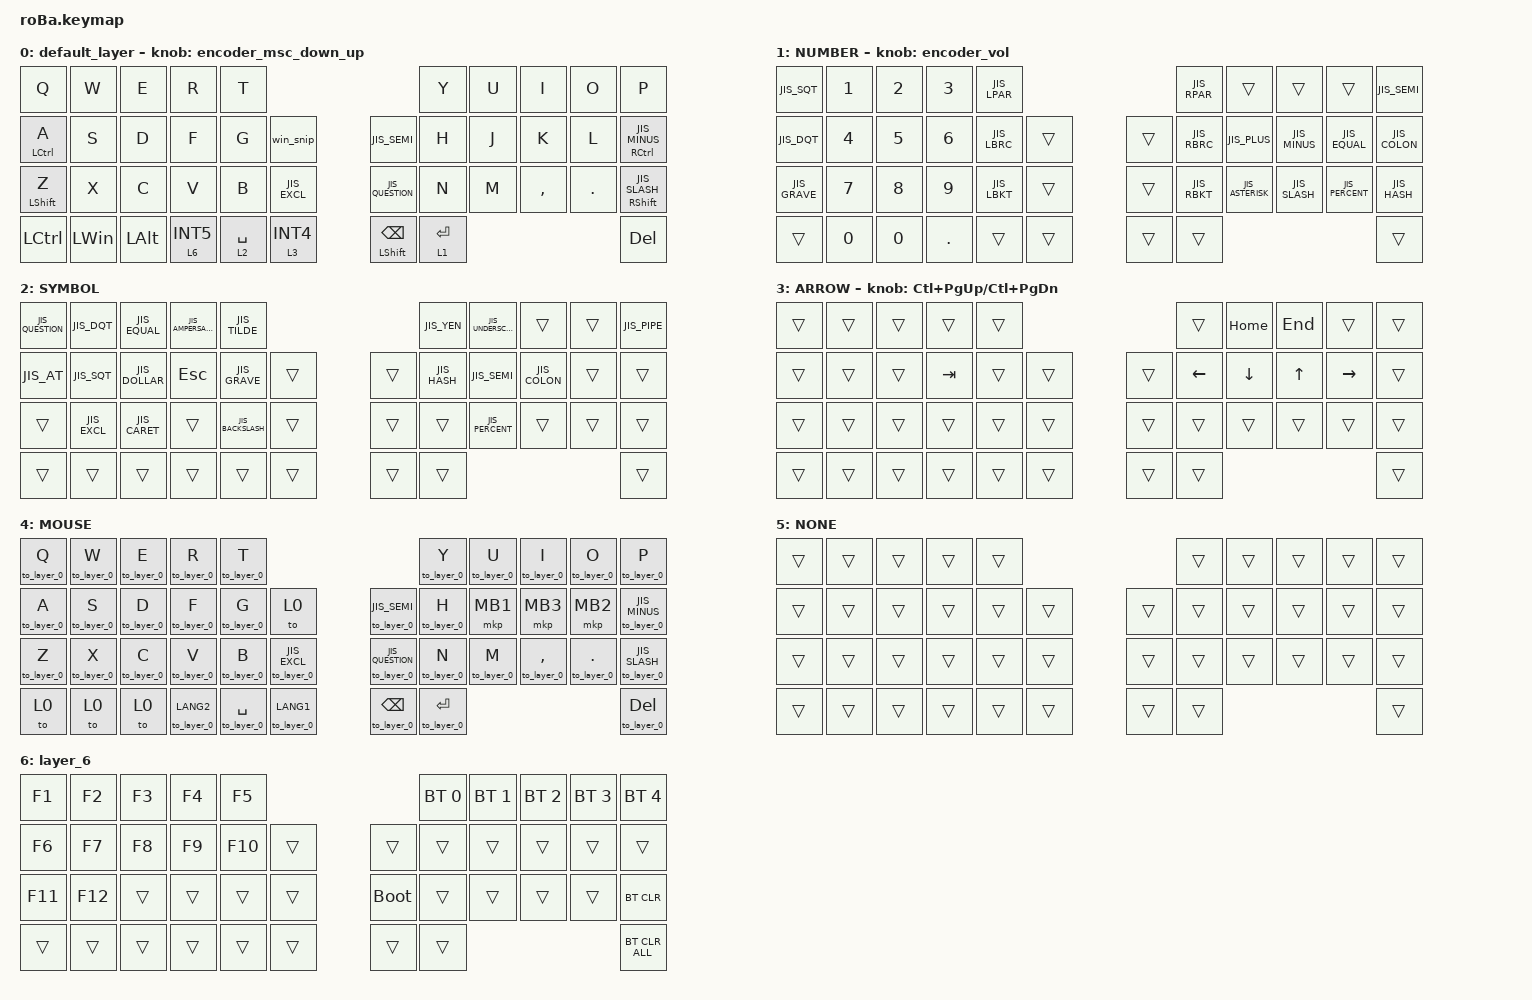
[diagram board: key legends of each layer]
#include <input/processors.dtsi>
#include <behaviors.dtsi>
#include <dt-bindings/zmk/bt.h>
#include <dt-bindings/zmk/keys.h>
#include <dt-bindings/zmk/pointing.h>

#include "jis_keys.h"

#define ZMK_POINTING_DEFAULT_SCRL_VAL 80

&mkp_input_listener { input-processors = <&zip_temp_layer 4 500>; };

&mt {
    flavor = "balanced";
    quick-tap-ms = <175>;
    tapping-term-ms = <400>;
    // require-prior-idle-ms = <200>;
};

&trackball {
    automouse-layer = <4>;
    scroll-layers = <5>;

    // arrows {
    //     layers = <3>;
    //     bindings =
    //         <&kp RIGHT_ARROW>,
    //         <&kp LEFT_ARROW>,
    //         <&kp UP_ARROW>,
    //         <&kp DOWN_ARROW>;
    //     tick = <10>;
    //     wait-ms = <5>;
    //     tap-ms = <5>;
    // };
};

/ {
    combos {
        compatible = "zmk,combos";

        tab {
            bindings = <&kp TAB>;
            key-positions = <11 12>;
        };

        shift_tab {
            bindings = <&kp LS(TAB)>;
            key-positions = <12 13>;
        };

        back {
            bindings = <&kp LA(LEFT)>;
            key-positions = <18 19>;
        };

        forward {
            bindings = <&kp LA(RIGHT)>;
            key-positions = <19 20>;
        };

        move_to_monitor_right {
            bindings = <&kp LG(LS(RIGHT))>;
            key-positions = <31 32>;
        };

        move_to_monitor_left {
            bindings = <&kp LG(LS(LEFT))>;
            key-positions = <30 31>;
        };
    };

    macros {
        to_layer_0: to_layer_0 {
            compatible = "zmk,behavior-macro-one-param";
            #binding-cells = <1>;
            bindings = <&to 0 &macro_param_1to1 &kp MACRO_PLACEHOLDER>;
            label = "TO_LAYER_0";
        };

        win_snip: win_snip {
            compatible = "zmk,behavior-macro";
            #binding-cells = <0>;
            bindings
                = <&macro_press &kp LGUI &kp LSHFT>
                , <&macro_tap &kp S>
                , <&macro_release &kp LGUI &kp LSHFT>;
            label = "WIN_SNIP";
        };
    };

    behaviors {
        lt_to_layer_0: lt_to_layer_0 {
            compatible = "zmk,behavior-hold-tap";
            label = "LAYER_TAP_TO_0";
            bindings = <&mo>, <&to_layer_0>;

            #binding-cells = <2>;
            tapping-term-ms = <200>;
            require-prior-idle-ms = <100>;
        };

        encoder_msc_down_up: encoder_msc_down_up {
            compatible = "zmk,behavior-sensor-rotate";
            label = "ENCODER_MSC_DOWN_UP";
            #sensor-binding-cells = <0>;
            bindings = <&msc SCRL_DOWN>, <&msc SCRL_UP>;

            tap-ms = <20>;
        };

        encoder_vol: encoder_vol {
            compatible = "zmk,behavior-sensor-rotate";
            label = "ENCODER_VOL";
            #sensor-binding-cells = <0>;
            bindings = <&kp C_VOL_DN>, <&kp C_VOL_UP>;
            tap-ms = <20>;
        };
    };

    keymap {
        compatible = "zmk,keymap";

        default_layer {
            bindings = <
&kp Q               &kp W         &kp E         &kp R                   &kp T                                                               &kp Y             &kp U  &kp I      &kp O    &kp P
&mt LEFT_CONTROL A  &kp S         &kp D         &kp F                   &kp G        &win_snip                   &kp JIS_SEMI               &kp H             &kp J  &kp K      &kp L    &mt RIGHT_CONTROL JIS_MINUS
&mt LSHIFT Z        &kp X         &kp C         &kp V                   &kp B        &kp JIS_EXCL                &kp JIS_QUESTION           &kp N             &kp M  &kp COMMA  &kp DOT  &mt RIGHT_SHIFT JIS_SLASH
&kp LCTRL           &kp LEFT_WIN  &kp LEFT_ALT  &lt_to_layer_0 6 INT5   &lt 2 SPACE  &lt_to_layer_0 3 INT4       &mt LSHIFT BACKSPACE       &lt 1 ENTER                                  &kp DEL
            >;

            sensor-bindings = <&encoder_msc_down_up>;
        };

        NUMBER {
            bindings = <
&kp JIS_SQT    &kp NUMBER_1   &kp NUMBER_2   &kp NUMBER_3   &kp JIS_LPAR                            &kp JIS_RPAR   &trans             &trans          &trans            &kp JIS_SEMI
&kp JIS_DQT    &kp NUMBER_4   &kp NUMBER_5   &kp NUMBER_6   &kp JIS_LBRC     &trans      &trans     &kp JIS_RBRC   &kp JIS_PLUS       &kp JIS_MINUS   &kp JIS_EQUAL     &kp JIS_COLON
&kp JIS_GRAVE  &kp NUMBER_7   &kp NUMBER_8   &kp NUMBER_9   &kp JIS_LBKT     &trans      &trans     &kp JIS_RBKT   &kp JIS_ASTERISK   &kp JIS_SLASH   &kp JIS_PERCENT   &kp JIS_HASH
&trans         &kp NUMBER_0   &kp NUMBER_0   &kp DOT        &trans           &trans      &trans     &trans                                                              &trans
            >;

            sensor-bindings = <&encoder_vol>;
        };

        SYMBOL {
            bindings = <
&kp JIS_QUESTION  &kp JIS_DQT     &kp JIS_EQUAL   &kp JIS_AMPERSAND    &kp JIS_TILDE                                &kp JIS_YEN    &kp JIS_UNDERSCORE  &trans           &trans  &kp JIS_PIPE
&kp JIS_AT        &kp JIS_SQT     &kp JIS_DOLLAR  &kp ESC              &kp JIS_GRAVE       &trans      &trans       &kp JIS_HASH   &kp JIS_SEMI        &kp JIS_COLON    &trans  &trans
&trans            &kp JIS_EXCL    &kp JIS_CARET   &trans               &kp JIS_BACKSLASH   &trans      &trans       &trans         &kp JIS_PERCENT     &trans           &trans  &trans
&trans            &trans          &trans          &trans               &trans              &trans      &trans       &trans                                                      &trans
            >;
        };

        ARROW {
            bindings = <
&trans   &trans  &trans  &trans   &trans                      &trans          &kp HOME        &kp END       &trans           &trans
&trans   &trans  &trans  &kp TAB  &trans  &trans      &trans  &kp LEFT_ARROW  &kp DOWN_ARROW  &kp UP_ARROW  &kp RIGHT_ARROW  &trans
&trans   &trans  &trans  &trans   &trans  &trans      &trans  &trans          &trans          &trans        &trans           &trans
&trans   &trans  &trans  &trans   &trans  &trans      &trans  &trans                                                         &trans
            >;

            sensor-bindings = <&inc_dec_kp LC(PAGE_UP) LC(PAGE_DOWN)>;
        };

        MOUSE {
            bindings = <
&to_layer_0 Q  &to_layer_0 W  &to_layer_0 E  &to_layer_0 R      &to_layer_0 T                                          &to_layer_0 Y        &to_layer_0 U  &to_layer_0 I      &to_layer_0 O    &to_layer_0 P
&to_layer_0 A  &to_layer_0 S  &to_layer_0 D  &to_layer_0 F      &to_layer_0 G  &to 0              &to_layer_0 JIS_SEMI  &to_layer_0 H        &mkp MB1       &mkp MB3           &mkp MB2         &to_layer_0 JIS_MINUS
&to_layer_0 Z  &to_layer_0 X  &to_layer_0 C  &to_layer_0 V      &to_layer_0 B  &to_layer_0 JIS_EXCL  &to_layer_0 JIS_QUESTION  &to_layer_0 N  &to_layer_0 M  &to_layer_0 COMMA  &to_layer_0 DOT  &to_layer_0 JIS_SLASH
&to 0          &to 0          &to 0          &to_layer_0 LANG2  &to_layer_0 SPACE  &to_layer_0 LANG1  &to_layer_0 BACKSPACE  &to_layer_0 ENTER                                                   &to_layer_0 DEL
            >;
        };

        NONE {
            bindings = <
&trans  &trans  &trans  &trans  &trans                      &trans  &trans  &trans  &trans  &trans
&trans  &trans  &trans  &trans  &trans  &trans      &trans  &trans  &trans  &trans  &trans  &trans
&trans  &trans  &trans  &trans  &trans  &trans      &trans  &trans  &trans  &trans  &trans  &trans
&trans  &trans  &trans  &trans  &trans  &trans      &trans  &trans                          &trans
            >;
        };

        layer_6 {
            bindings = <
&kp F1   &kp F2   &kp F3  &kp F4   &kp F5                           &bt BT_SEL 0  &bt BT_SEL 1  &bt BT_SEL 2  &bt BT_SEL 3  &bt BT_SEL 4
&kp F6   &kp F7   &kp F8  &kp F9   &kp F10  &trans        &trans       &trans        &trans        &trans        &trans        &trans
&kp F11  &kp F12  &trans  &trans   &trans   &trans        &bootloader  &trans        &trans        &trans        &trans        &bt BT_CLR
&trans   &trans   &trans  &trans   &trans   &trans        &trans       &trans                                                  &bt BT_CLR_ALL
            >;
        };
    };
};
